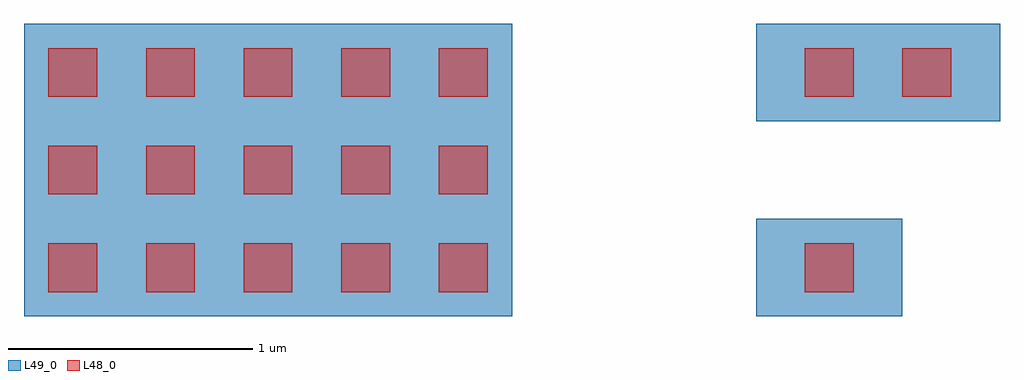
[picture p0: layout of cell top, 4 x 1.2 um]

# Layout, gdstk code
import gdstk
lib = gdstk.Library(unit=1e-6, precision=1e-09)
def R(c, l, rs):  # rectangles x0, y0, x1, y1
    for r in rs: c.add(gdstk.rectangle(r[:2], r[2:], *l))
def A(c, l, x, y, w, h, nx, ny, dx, dy):  # array of equal rectangles
    R(c, l, [(x+i*dx, y+j*dy, x+i*dx+w, y+j*dy+h) for i in range(nx) for j in range(ny)])
L48_0 = (48, 0)
L49_0 = (49, 0)

top = lib.new_cell('top')
A(top, L48_0, 0.1, 0.1, 0.2, 0.2, 5, 3, 0.4, 0.4)
R(top, L48_0, [(3.2,0.1,3.4,0.3), (3.2,0.9,3.4,1.1), (3.6,0.9,3.8,1.1)])
R(top, L49_0, [(0,0,2,1.2), (3,0,3.6,0.4), (3,0.8,4,1.2)])

lib.write_gds('top.gds')
